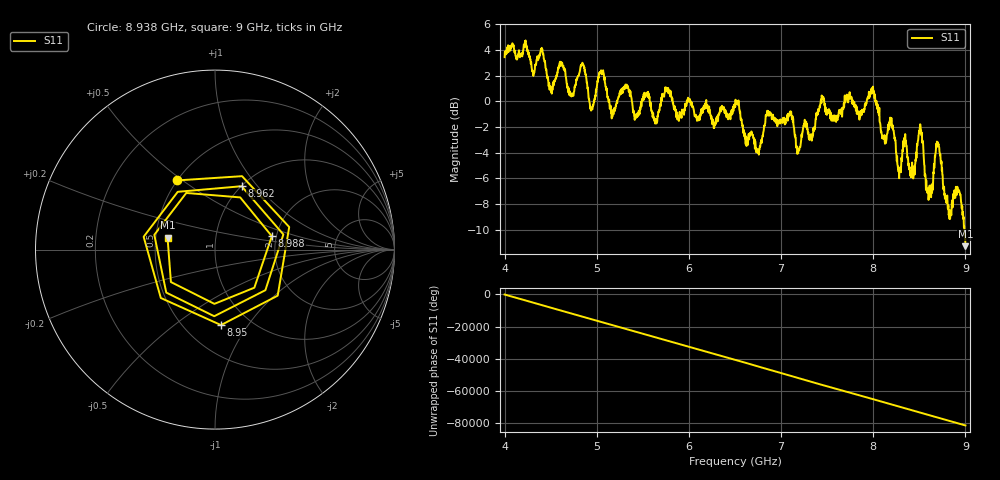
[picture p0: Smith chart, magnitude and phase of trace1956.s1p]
! Created with skrf 1.8.0 (http://scikit-rf.org).
# Hz S RI R 50.0
!freq ReS11 ImS11
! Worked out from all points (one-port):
!   1601 points, 4 GHz to 9 GHz, reference 50 ohm
!   lowest |S11| = -11.3 dB at 9 GHz (marker M1), VSWR 1.75, Z = 28.9 + j4.18 ohm
!   |S11| at or under -10 dB: 8.989323 GHz to end of sweep
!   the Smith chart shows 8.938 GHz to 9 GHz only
!   S11 on the Smith chart (normalised r, x): 8.938 GHz: 0.50, +0.47; 8.95 GHz: 0.74, -0.76; 8.962 GHz: 1.00, +0.83; 8.988 GHz: 1.89, +0.32; 9 GHz: 0.58, +0.08
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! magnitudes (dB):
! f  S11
! 4 GHz  3.4
! 4.625 GHz  3.0
! 4.725 GHz  0.4
! 4.85 GHz  2.9
! 4.941 GHz  -0.6
! 5.05 GHz  2.3
! 5.162 GHz  -1.3
! 5.25 GHz  0.6
! 5.875 GHz  -1.4
! 6.5 GHz  -0.3
! 6.75 GHz  -4.0
! 6.856 GHz  -1.0
! 7.125 GHz  -1.2
! 7.188 GHz  -3.9
! 7.444 GHz  0.3
! 7.75 GHz  0.3
! 7.994 GHz  1.0
! 8.278 GHz  -5.2
! 8.375 GHz  -4.5
! 8.516 GHz  -2.2
! 8.603 GHz  -7.4
! 8.7 GHz  -3.2
! 8.825 GHz  -8.8
! 8.938 GHz  -7.1
! 8.95 GHz  -7.5
! 8.962 GHz  -8.3
! 8.988 GHz  -9.8
! 9 GHz  -11.3
